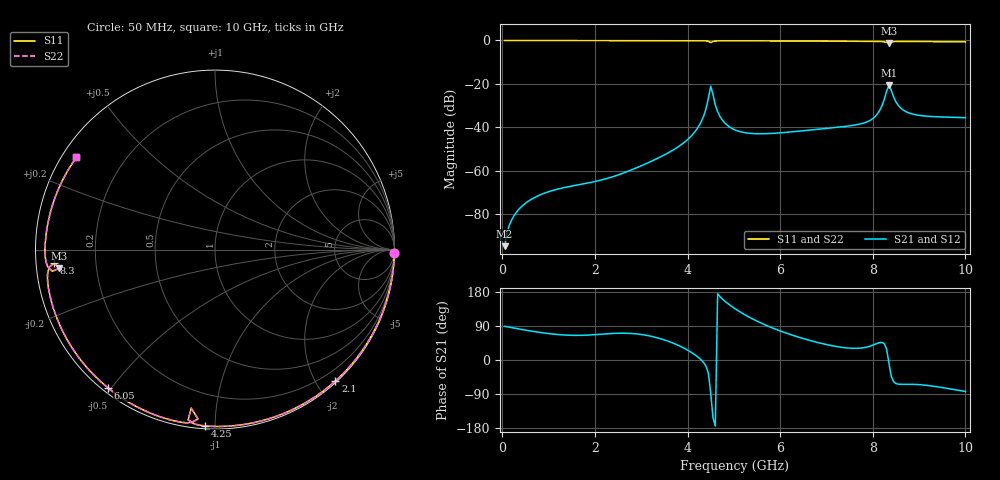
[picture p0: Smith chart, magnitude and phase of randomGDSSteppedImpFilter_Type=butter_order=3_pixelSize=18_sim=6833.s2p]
! freq	dB(S11)	phase(S11)	dB(S12)	phase(S12)
!  dB(S21)	phase(S21)	dB(S22)	phase(S22)
!S-par simulation data
#  GHz  S  DB  R 50
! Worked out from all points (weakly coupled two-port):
!   200 points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, 50 MHz to 10 GHz, reference 50 ohm
!   highest |S21| = -20.69 dB at 8.35 GHz (marker M1); lowest = -94.7 dB at 50 MHz (marker M2)
!   lowest |S11| = -1.2 dB at 8.35 GHz (marker M3), VSWR 14.75, Z = 3.4 - j2.99 ohm
!   |S11| at or under -10 dB: nowhere
!   |S22| runs from -1.2 to 0.0 dB; largest |S21 - S12| = 0
!   S11 on the Smith chart (normalised r, x): 50 MHz: 0, -98; 2.1 GHz: 0.02, -2.27; 4.25 GHz: 0.02, -0.95; 6.05 GHz: 0.02, -0.49; 8.3 GHz: 0.05, -0.04; 10 GHz: 0.04, +0.30
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0.05  -0.00 -1.2  -94.66 88.8  -94.66 88.8  -0.00 -1.2
0.25  -0.01 -5.8  -80.75 84.3  -80.75 84.3  -0.01 -5.8
0.9  -0.03 -20.7  -70.34 71.3  -70.34 71.3  -0.03 -20.7
1.75  -0.05 -39.8  -66.00 65.2  -66.00 65.2  -0.05 -39.8
2.1  -0.06 -47.5  -64.42 67.7  -64.42 67.7  -0.06 -47.5
3.4  -0.10 -75.2  -53.76 56.8  -53.76 56.8  -0.10 -75.3
3.95  -0.12 -86.7  -46.56 29.5  -46.56 29.5  -0.12 -86.7
4.25  -0.14 -93.1  -39.17 5.3  -39.17 5.3  -0.14 -93.2
4.4  -0.21 -97.1  -31.39 -16.7  -31.39 -16.7  -0.21 -97.1
4.5  -0.98 -98.5  -21.04 -87.4  -21.04 -87.4  -0.98 -98.5
4.6  -0.25 -97.6  -29.66 -174.3  -29.66 -174.3  -0.25 -97.6
4.7  -0.18 -100.4  -34.97 167.4  -34.97 167.4  -0.18 -100.5
5.05  -0.17 -108.0  -41.38 133.4  -41.38 133.4  -0.17 -108.0
6.05  -0.23 -127.7  -42.43 74.5  -42.43 74.5  -0.23 -127.7
6.7  -0.28 -140.5  -41.12 49.7  -41.12 49.7  -0.28 -140.5
7.95  -0.42 -166.3  -36.68 36.9  -36.68 36.9  -0.42 -166.4
8.15  -0.49 -171.2  -32.19 46.1  -32.19 46.1  -0.50 -171.2
8.3  -0.93 -175.2  -23.18 28.2  -23.18 28.2  -0.93 -175.2
8.35  -1.18 -173.1  -20.69 -8.9  -20.69 -8.9  -1.18 -173.1
8.55  -0.48 -177.3  -29.87 -63.7  -29.87 -63.7  -0.48 -177.3
8.75  -0.48 177.6  -33.10 -64.0  -33.10 -64.0  -0.48 177.6
10  -0.65 146.3  -35.54 -83.1  -35.54 -83.1  -0.65 146.3
